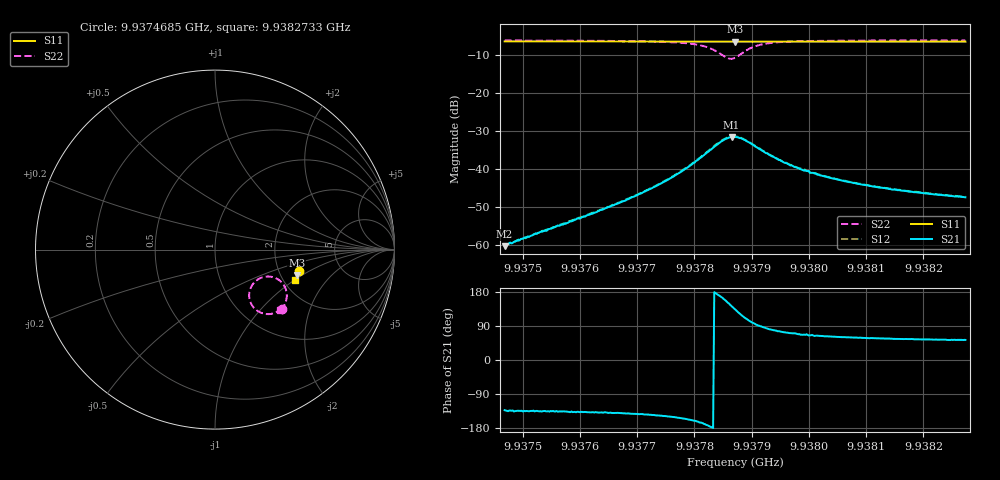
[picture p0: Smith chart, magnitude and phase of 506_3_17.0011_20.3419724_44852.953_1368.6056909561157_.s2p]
#  HZ  S  RI  R  50.00
! Rohde & Schwarz Vector Network Analyzer
! Rohde-Schwarz,ZNB20-2Port,1311601062101988,3.16
! Created: UTC 3/20/2024, 11:14:48 PM
! freq[Hz]  re:S11  im:S11  re:S21  im:S21  re:S12  im:S12  re:S22  im:S22
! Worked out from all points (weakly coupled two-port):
!   401 points, 9.9374685 GHz to 9.9382733 GHz, reference 50 ohm
!   highest |S21| = -31.46 dB at 9.9378648 GHz (marker M1); lowest = -60.2 dB at 9.9374685 GHz (marker M2)
!   lowest |S11| = -6.4 dB at 9.9378709 GHz (marker M3), VSWR 2.83, Z = 122 - j45.4 ohm
!   |S11| at or under -10 dB: nowhere
!   |S22| runs from -10.9 to -6.1 dB; largest |S21 - S12| = 0.0012
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9.9374685e9  0.4679 -0.1196  -0.000657 -0.000718  -0.000679 -0.000724  0.3728 -0.3282
9.93750069e9  0.467 -0.1217  -0.000878 -0.000845  -0.000885 -0.000866  0.3698 -0.3306
9.93760329e9  0.4647 -0.1285  -0.0017 -0.0016  -0.00177 -0.00158  0.3573 -0.34
9.93767371e9  0.463 -0.1332  -0.00289 -0.00241  -0.00297 -0.0024  0.3435 -0.3483
9.93773809e9  0.4613 -0.1377  -0.00528 -0.00347  -0.0054 -0.0035  0.3198 -0.3567
9.93778034e9  0.46 -0.1406  -0.00875 -0.00418  -0.00898 -0.00415  0.2892 -0.3595
9.93781857e9  0.4582 -0.143  -0.0155 -0.0029  -0.0158 -0.00263  0.2353 -0.3406
9.93783265e9  0.4573 -0.1438  -0.0193 -0.000183  -0.0196 0.000231  0.2085 -0.3141
9.93784673e9  0.4565 -0.1442  -0.0226 0.00556  -0.0228 0.00608  0.1907 -0.2649
9.93785679e9  0.456 -0.1441  -0.0227 0.0114  -0.023 0.0122  0.1971 -0.218
9.93786484e9  0.456 -0.1439  -0.0211 0.0164  -0.0209 0.0171  0.2191 -0.1824
9.93787088e9  0.4559 -0.1439  -0.0184 0.0193  -0.018 0.0203  0.2446 -0.1628
9.93788093e9  0.4563 -0.144  -0.0128 0.0223  -0.0123 0.023  0.2927 -0.1499
9.93789502e9  0.4568 -0.1449  -0.00553 0.022  -0.00506 0.0224  0.3479 -0.1638
9.93791715e9  0.4571 -0.1465  0.000473 0.0179  0.00108 0.018  0.3887 -0.2067
9.93795336e9  0.4568 -0.1496  0.00352 0.0122  0.00383 0.0122  0.4004 -0.2564
9.93797952e9  0.4561 -0.1514  0.00384 0.00976  0.004 0.00981  0.3982 -0.2769
9.93800567e9  0.4555 -0.1533  0.00367 0.00821  0.00398 0.00815  0.3946 -0.2905
9.93807005e9  0.4539 -0.1578  0.00342 0.00584  0.00359 0.00586  0.385 -0.311
9.93814047e9  0.4519 -0.1624  0.00303 0.00459  0.00322 0.00457  0.3768 -0.3235
9.93822698e9  0.4495 -0.1679  0.00273 0.00372  0.00283 0.00371  0.3684 -0.3338
9.93827326e9  0.4483 -0.1709  0.00258 0.00342  0.00274 0.00341  0.3647 -0.3379
